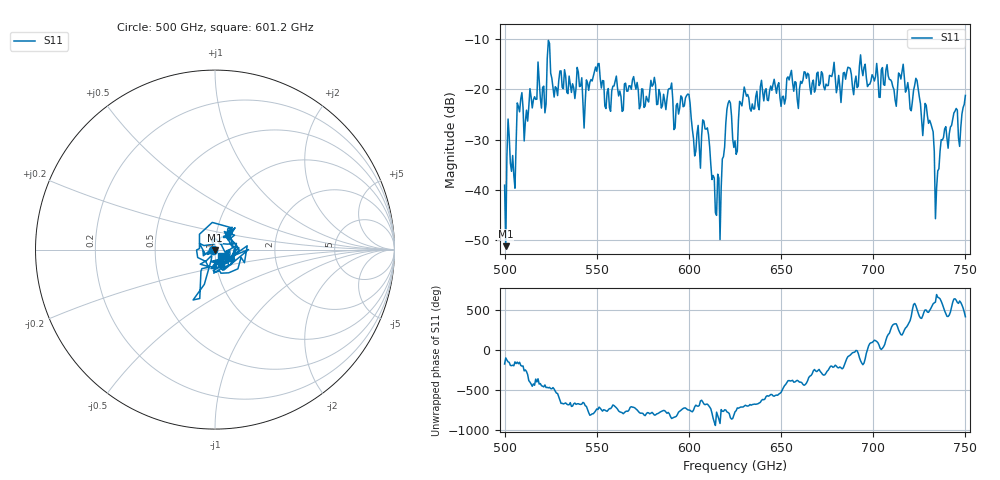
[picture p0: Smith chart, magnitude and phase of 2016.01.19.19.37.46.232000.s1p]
!Created with skrf (http://scikit-rf.org).
# GHz S RI R 50.0
!freq ReS11 ImS11
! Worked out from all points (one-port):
!   401 points, 500 GHz to 750 GHz, reference 50 ohm
!   lowest |S11| = -51.1 dB at 500.6 GHz (marker M1), VSWR 1.01, Z = 50 - j0.273 ohm
!   |S11| at or under -10 dB: start of sweep to end of sweep
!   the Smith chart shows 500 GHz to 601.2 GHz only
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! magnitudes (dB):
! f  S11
! 500 GHz  -39.0
! 500.6 GHz  -51.1
! 502.5 GHz  -29.4
! 505 GHz  -37.1
! 508.1 GHz  -24.5
! 521.2 GHz  -19.4
! 524.4 GHz  -10.9
! 527.5 GHz  -19.5
! 531.2 GHz  -19.6
! 543.8 GHz  -22.4
! 550 GHz  -16.4
! 562.5 GHz  -20.3
! 580.6 GHz  -19.0
! 593.8 GHz  -22.8
! 599.4 GHz  -20.9
! 605 GHz  -27.2
! 608.8 GHz  -27.9
! 615.6 GHz  -36.8
! 621.2 GHz  -22.8
! 625 GHz  -30.2
! 630.6 GHz  -20.5
! 656.2 GHz  -18.6
! 687.5 GHz  -15.8
! 718.8 GHz  -18.7
! 729.4 GHz  -25.2
! 734.4 GHz  -39.7
! 738.1 GHz  -29.6
! 750 GHz  -21.2
